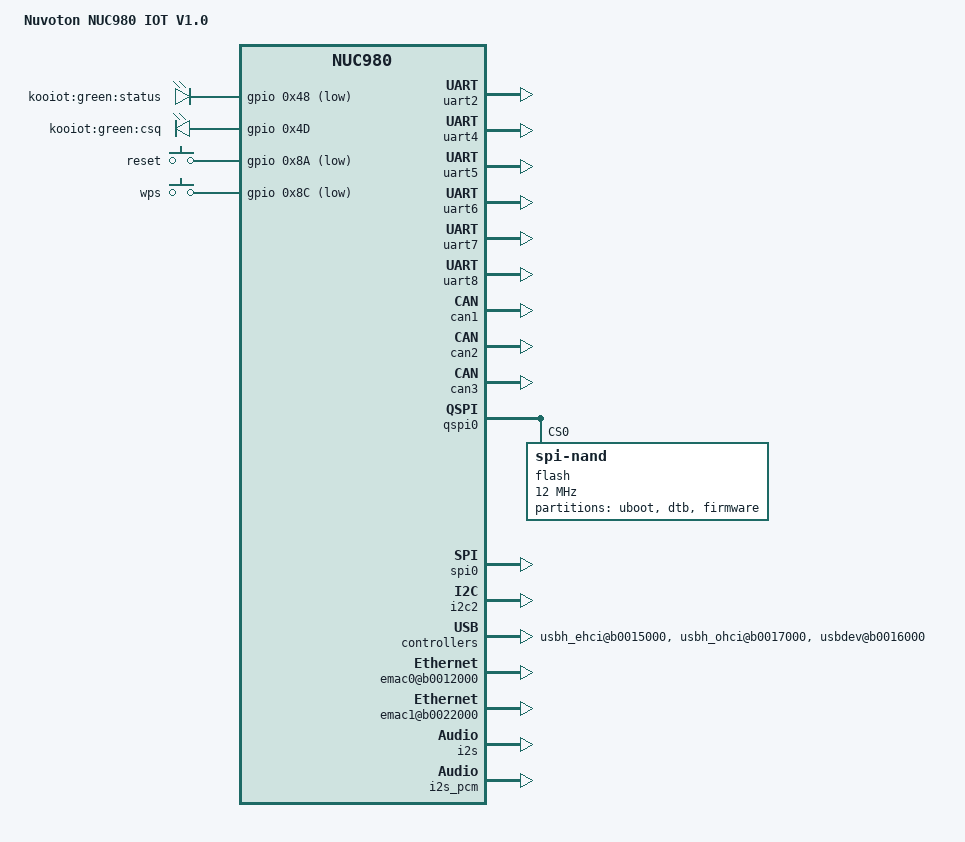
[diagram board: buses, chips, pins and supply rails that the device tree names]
/*
 * Device Tree Source for NUC980 IOT board
 *
 * Copyright (C) 2019 Nuvoton Technology Corp.
 *
 * The code contained herein is licensed under the GNU General Public
 * License. You may obtain a copy of the GNU General Public License
 * Version 2 or later at the following locations:
 *
 * http://www.opensource.org/licenses/gpl-license.html
 * http://www.gnu.org/copyleft/gpl.html
 */
/dts-v1/;
#include "nuc980.dtsi"

#include <dt-bindings/gpio/gpio.h>
#include <dt-bindings/input/input.h>

/ {
	model = "Nuvoton NUC980 IOT V1.0";
	compatible = "nuvoton,nuc980-dev-v1.0", "nuvoton,nuc980";

	chosen {
		bootargs = "console=ttyS0,115200n8 mem=64M lpj=744448";
	};

	leds {
		compatible = "gpio-leds";

		status {
			label = "kooiot:green:status";
			gpios = <&gpio 0x48 GPIO_ACTIVE_LOW>; /* PB8 */
			linux,default-trigger = "heartbeat";
		};

		csq {
			label = "kooiot:green:csq";
			gpios = <&gpio 0x4D GPIO_ACTIVE_HIGH>; /* PB13 */
			default-state = "off";
		};
	};

	gpio_keys {
		compatible = "gpio-keys";

		reset {
			label = "reset";
			linux,code = <KEY_RESTART>;
			gpios = <&gpio 0x8A GPIO_ACTIVE_LOW>; /* PE.10 / EINT2 - K1 */
		};

		wps {
			label = "wps";
			linux,code = <KEY_WPS_BUTTON>;
			gpios = <&gpio 0x8C GPIO_ACTIVE_LOW>; /* PE.12 / EINT3 - K2 */
		};
	};

	apb {
		uart1: serial@b0071000 {
			status = "disabled";
		};

		uart2: serial@b0072000 {
			pinctrl-names = "default";
			pinctrl-0 = <&pinctrl_uart2_PA_2>;
			pdma-enable = <1>;
			status = "okay";
		};

		uart3: serial@b0073000 {
			status = "disabled";
		};

		uart4: serial@b0074000 {
			pinctrl-names = "default";
			pinctrl-0 = <&pinctrl_uart4_PD_2>;
			pdma-enable = <1>;
			status = "okay";
		};

		uart5: serial@b0075000 {
			pinctrl-names = "default";
			pinctrl-0 = <&pinctrl_uart5_PG_2>;
			pdma-enable = <1>;
			status = "okay";
		};

		uart6: serial@b0076000 {
			pinctrl-names = "default";
			pinctrl-0 = <&pinctrl_uart6_PA_2>;
			pdma-enable = <1>;
			status = "okay";
		};

		uart7: serial@b0077000 {
			pinctrl-names = "default";
			pinctrl-0 = <&pinctrl_uart7_PB_2>;
			pdma-enable = <1>;
			status = "okay";
		};

		uart8: serial@b0078000 {
			pinctrl-names = "default";
			pinctrl-0 = <&pinctrl_uart8_PA>;
			pdma-enable = <1>;
			status = "okay";
		};

		uart9: serial@b0079000 {
			pinctrl-names = "default";
			pinctrl-0 = <&pinctrl_uart9_PB_PE>;
			pdma-enable = <1>;
			status = "disabled";
		};

		can0: can@b00a0000 {
			status = "disabled";
		};

		can1: can@b00a1000 {
			pinctrl-names = "default";
			pinctrl-0 = <&pinctrl_uart9_PB_PE>;
			status = "okay";
		};

		can2: can@b00a2000 {
			pinctrl-names = "default";
			pinctrl-0 = <&pinctrl_can2_PB>;
			status = "okay";
		};

		can3: can@b00a3000 {
			status = "okay";
		};

		rtc: rtc@b0041000 {
			status = "okay";
		};

		nadc: nadc@b0043000 {
			status = "disabled";
		};

		pwm0: pwm@b0058000 {
			status = "disabled";
		};

		pwm1: pwm@b0059000 {
			status = "disabled";
		};
		pinctrl: pinctrl@b0000000 {
			qspi0 {
				pinctrl_qspi0_quad: qspi0_quad {
					nuvoton,pins =
						<3 0x2 0x1 0
						 3 0x3 0x1 0
						 3 0x4 0x1 0
						 3 0x5 0x1 0
						 3 0x6 0x1 0
						 3 0x7 0x1 0
						>;
				};
			};

			uart2 {
				pinctrl_uart2_PA_2: uart2-PA-2 {
					nuvoton,pins =
						<0 9 2 0
						 0 0xa 2 0>;
				};
			};

			uart4 {
				pinctrl_uart4_PD_2: uart4-PD-2 {
					nuvoton,pins =
						<3 0xc 1 0
						 3 0xd 1 0>;
				};
			};

			uart5 {
				pinctrl_uart5_PG_2: uart5-PG-2 {
					nuvoton,pins =
						<6 6 2 0
						 6 7 2 0>;
				};
			};

			uart6 {
				pinctrl_uart6_PA_2: uart6-PA-2 {
					nuvoton,pins =
						<0 4 1 0
						 0 5 1 0>;
				};
			};

			uart7 {
				pinctrl_uart7_PB_2: uart7-PB-2 {
					nuvoton,pins =
						<1 4 5 0
						 1 6 5 0>;
				};
			};

			uart8 {
				pinctrl_uart8_PA: uart8-PA {
					nuvoton,pins =
						<0 0xb 2 0
						 0 0xc 2 0>;
				};
			};
		};
		qspi0: spi@b0060000 {
			status = "okay";
			#address-cells = <1>;
			#size-cells = <0>;
			pinctrl-names = "default";
			pinctrl-0 = <&pinctrl_qspi0_quad>;
			num_cs  = <2>;
			lsb	 = <0>;
			txneg   = <1>;
			rxneg   = <0>;
			clkpol  = <0>;
			divider = <4>;
			sleep   = <0>;
			txnum   = <0>;
			txbitlen = <8>;
			bus_num	= <0>;

			flash: flash@0 {
				compatible = "spi-nand";
				#address-cells = <1>;
				#size-cells = <1>;
				reg = <0>;
				spi-max-frequency = <12000000>;
				spi-rx-bus-width = <4>;
				spi-tx-bus-width = <4>;
				partition@0 {
					label = "uboot";
					reg = <0x00000000 0x00180000>;
				};
				partition@1 {
					label = "dtb";
					reg = <0x00180000 0x00020000>;
				};
				partition@2 {
					label = "firmware";
					reg = <0x00200000 0x00000000>;
				};
			};
		};

		spi0: spi@b0061000 {
			status = "okay";
			#address-cells = <1>;
			#size-cells = <0>;

			num_cs  = <2>;
			lsb	 = <0>;
			txneg   = <1>;
			rxneg   = <0>;
			clkpol  = <0>;
			divider = <4>;
			sleep   = <0>;
			txnum   = <0>;
			txbitlen = <8>;
			bus_num	= <1>;

		};

		spi1: spi@b0062000 {
			status = "disabled";
			#address-cells = <1>;
			#size-cells = <0>;

			num_cs  = <2>;
			lsb	 = <0>;
			txneg   = <1>;
			rxneg   = <0>;
			clkpol  = <0>;
			divider = <4>;
			sleep   = <0>;
			txnum   = <0>;
			txbitlen = <8>;
			bus_num	= <2>;

		};

		etimer0: etimer0@b0050000 {
			status = "disabled";
		};

		etimer1: etimer1@b0050100 {
			status = "disabled";
		};

		etimer2: etimer2@b0051000 {
			status = "disabled";
		};

		etimer3: etimer3@b0051100 {
			status = "disabled";
		};

		i2c0: i2c0@b0080000 {
			status = "disabled";

			nau8822: nau8822@1a {
				compatible = "nuvoton,nau8822";
				reg = <0x1a> ;
			};
		};

		i2c1: i2c1@b0081000 {
			status = "disabled";
			pinctrl-0 = <&pinctrl_i2c1_PB>;
		};


		i2c2: i2c2@b0082000 {
			status = "okay";
			pinctrl-0 = <&pinctrl_i2c2_PB>;
		};

		i2c3: i2c3@b0083000 {
			status = "disabled";
			pinctrl-0 = <&pinctrl_i2c3_PB>;
		};

	};

	ahb {
		usbh_ehci@b0015000 {
			status = "okay";
		};
		usbh_ohci@b0017000{
			status = "okay";
		};

		usbdev@b0016000 {
			status = "okay";
		};

		fmi@b0019000 {
			compatible = "nuvoton,nuc980-fmi", "nand";
			pinctrl-names = "default";
			pinctrl-0 = <&pinctrl_nand>;
			status = "disabled";
			#address-cells = <1>;
			#size-cells = <1>;

			partition@0x0 {
				label = "u-boot";
				reg = <0x00000000 0x0200000>;
			};

			partition@0x200000 {
				label = "Kernel";
				reg = <0x0200000 0x1400000>;
			};

			partition@0x1600000 {
				label = "user";
				reg = <0x1600000 0x6480000>;
			};
		};

		sdh@b0018000 {
			status = "disabled";
		};

		emac0@b0012000 {
			status = "okay";
		};
		emac1@b0022000 {
			status = "okay";
		};
		cap0@b0024000 {
			status = "disabled";
		};
		cap1@b0014000 {
			status = "disabled";
		};
		dma@b0008000 {
			status = "okay";
		};

		i2s: i2s@b0020000 {
			status = "okay";
		};

		i2s_pcm: i2s_pcm {
			status = "okay";
		};

		sound {
			compatible = "nuvoton,nuc980-audio";
			i2s-controller = <&i2s>;
			i2s-platform = <&i2s_pcm>;
			status = "okay";
		};
		ebi: ebi@b0010000 {
			status = "disabled";
		};
	};
};
